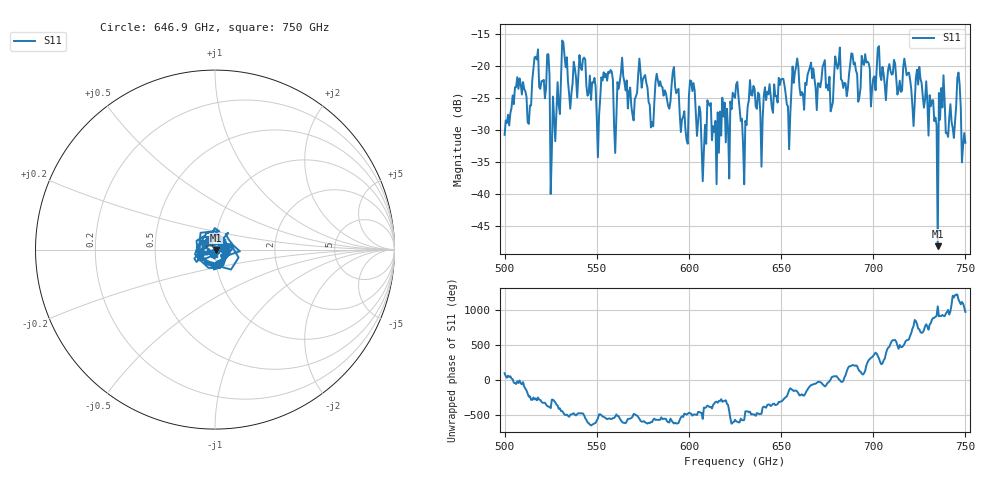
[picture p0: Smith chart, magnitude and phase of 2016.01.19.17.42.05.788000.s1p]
!Created with skrf (http://scikit-rf.org).
# GHz S RI R 50.0
!freq ReS11 ImS11
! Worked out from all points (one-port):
!   401 points, 500 GHz to 750 GHz, reference 50 ohm
!   lowest |S11| = -48.2 dB at 735 GHz (marker M1), VSWR 1.01, Z = 50.4 - j0.148 ohm
!   |S11| at or under -10 dB: start of sweep to end of sweep
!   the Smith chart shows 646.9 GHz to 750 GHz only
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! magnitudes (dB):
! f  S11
! 500 GHz  -30.8
! 506.9 GHz  -21.8
! 513.1 GHz  -29.1
! 516.9 GHz  -18.6
! 523.1 GHz  -18.2
! 526.2 GHz  -24.8
! 531.2 GHz  -16.0
! 542.5 GHz  -18.9
! 550.6 GHz  -34.3
! 557.5 GHz  -20.7
! 560.6 GHz  -28.2
! 562.5 GHz  -22.4
! 579.4 GHz  -29.6
! 593.8 GHz  -23.8
! 598.1 GHz  -30.0
! 601.9 GHz  -23.9
! 608.1 GHz  -33.3
! 625 GHz  -25.0
! 630 GHz  -38.5
! 634.4 GHz  -24.6
! 656.2 GHz  -20.1
! 687.5 GHz  -19.8
! 718.8 GHz  -21.2
! 735 GHz  -48.2
! 736.9 GHz  -23.5
! 743.8 GHz  -31.3
! 746.2 GHz  -21.0
! 750 GHz  -32.0
